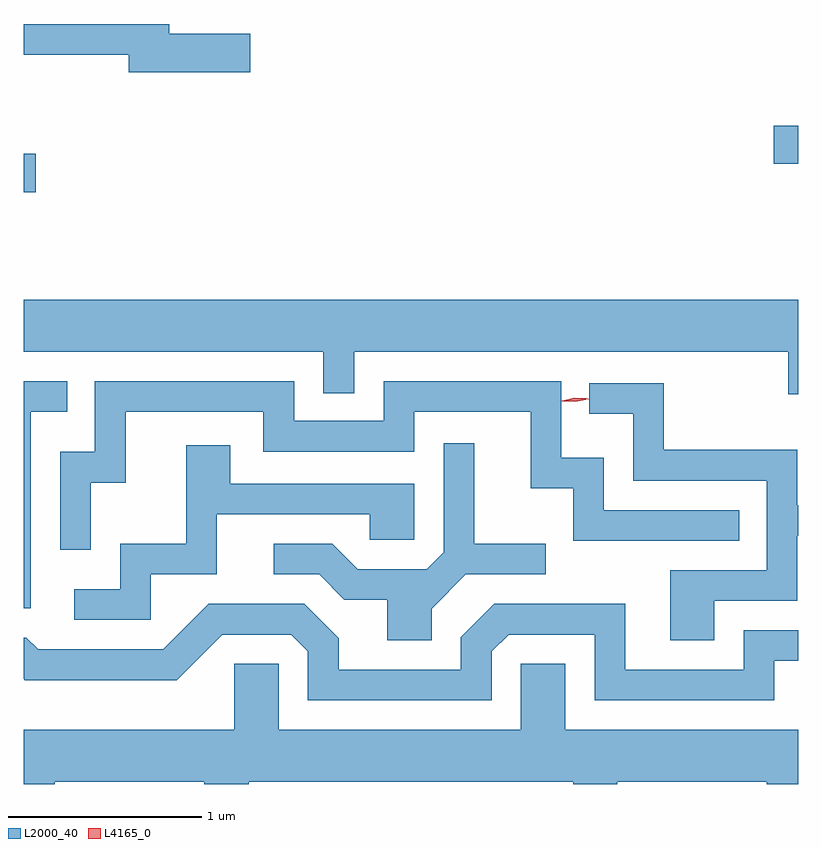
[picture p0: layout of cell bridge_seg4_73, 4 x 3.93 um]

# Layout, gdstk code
import gdstk
lib = gdstk.Library(unit=1e-6, precision=1e-09)
def R(c, l, rs):  # rectangles x0, y0, x1, y1
    for r in rs: c.add(gdstk.rectangle(r[:2], r[2:], *l))
def P(c, l, *ps):  # polygons
    for p in ps: c.add(gdstk.Polygon(p, *l))
L2000_40 = (2000, 40)
L4165_0 = (4165, 0)

bridge_seg4_73 = lib.new_cell('bridge_seg4_73')
R(bridge_seg4_73, L2000_40, [(1504.173,1317.761,1504.234,1317.959), (1508.046,1317.906,1508.173,1318.104)])
P(bridge_seg4_73, L2000_40, [(1505.344,1318.579),(1504.924,1318.579),(1504.924,1318.629),(1504.173,1318.629),(1504.173,1318.471),(1504.716,1318.471),(1504.716,1318.381),(1505.344,1318.381)],
  [(1508.173,1317.204),(1504.173,1317.204),(1504.173,1316.936),(1505.721,1316.936),(1505.721,1316.723),(1505.879,1316.723),(1505.879,1316.936),(1508.121,1316.936),(1508.121,1316.716),(1508.173,1316.716)],
  [(1504.209,1316.626),(1504.398,1316.626),(1504.398,1316.784),(1504.173,1316.784),(1504.173,1315.611),(1504.209,1315.611)],
  [(1504.519,1316.261),(1504.699,1316.261),(1504.699,1316.626),(1505.411,1316.626),(1505.411,1316.421),(1506.189,1316.421),(1506.189,1316.626),(1506.791,1316.626),(1506.791,1316.231),(1507.011,1316.231),(1507.011,1315.961),(1507.868,1315.961),(1507.868,1316.119),(1507.169,1316.119),(1507.169,1316.389),(1506.949,1316.389),(1506.949,1316.784),(1506.031,1316.784),(1506.031,1316.579),(1505.569,1316.579),(1505.569,1316.784),(1504.541,1316.784),(1504.541,1316.419),(1504.361,1316.419),(1504.361,1315.913),(1504.519,1315.913)],
  [(1507.739,1315.651),(1508.169,1315.651),(1508.169,1315.986),(1508.173,1315.986),(1508.173,1316.144),(1508.169,1316.144),(1508.169,1316.429),(1507.479,1316.429),(1507.479,1316.774),(1507.093,1316.774),(1507.093,1316.616),(1507.321,1316.616),(1507.321,1316.271),(1508.011,1316.271),(1508.011,1315.809),(1507.511,1315.809),(1507.511,1315.446),(1507.739,1315.446)],
  [(1506.279,1315.609),(1506.457,1315.786),(1506.868,1315.786),(1506.868,1315.944),(1506.499,1315.944),(1506.499,1316.463),(1506.341,1316.463),(1506.341,1315.902),(1506.254,1315.814),(1505.897,1315.814),(1505.767,1315.944),(1505.463,1315.944),(1505.463,1315.786),(1505.699,1315.786),(1505.829,1315.656),(1506.051,1315.656),(1506.051,1315.446),(1506.279,1315.446)],
  [(1504.829,1315.786),(1505.169,1315.786),(1505.169,1316.096),(1505.961,1316.096),(1505.961,1315.966),(1506.189,1315.966),(1506.189,1316.254),(1505.239,1316.254),(1505.239,1316.454),(1505.011,1316.454),(1505.011,1315.944),(1504.671,1315.944),(1504.671,1315.709),(1504.433,1315.709),(1504.433,1315.551),(1504.829,1315.551)],
  [(1506.589,1315.389),(1506.677,1315.476),(1507.121,1315.476),(1507.121,1315.136),(1508.049,1315.136),(1508.049,1315.341),(1508.173,1315.341),(1508.173,1315.499),(1507.891,1315.499),(1507.891,1315.294),(1507.279,1315.294),(1507.279,1315.634),(1506.604,1315.634),(1506.431,1315.462),(1506.431,1315.294),(1505.799,1315.294),(1505.799,1315.457),(1505.622,1315.634),(1505.129,1315.634),(1504.894,1315.399),(1504.247,1315.399),(1504.187,1315.459),(1504.173,1315.459),(1504.173,1315.247),(1504.179,1315.241),(1504.962,1315.241),(1505.197,1315.476),(1505.554,1315.476),(1505.641,1315.389),(1505.641,1315.136),(1506.589,1315.136)],
  [(1504.334,1314.716),(1505.106,1314.716),(1505.106,1314.704),(1505.334,1314.704),(1505.334,1314.716),(1507.011,1314.716),(1507.011,1314.704),(1507.239,1314.704),(1507.239,1314.716),(1508.011,1314.716),(1508.011,1314.704),(1508.173,1314.704),(1508.173,1314.984),(1506.969,1314.984),(1506.969,1315.324),(1506.741,1315.324),(1506.741,1314.984),(1505.489,1314.984),(1505.489,1315.324),(1505.261,1315.324),(1505.261,1314.984),(1504.173,1314.984),(1504.173,1314.704),(1504.334,1314.704)])
P(bridge_seg4_73, L4165_0, [(1507.021,1316.677),(1506.951,1316.682),(1506.951,1316.683),(1506.951,1316.684),(1507.02,1316.697),(1507.089,1316.691),(1507.09,1316.691),(1507.089,1316.69)],
  [(1507.021,1316.678),(1506.954,1316.681),(1506.954,1316.681),(1506.954,1316.682),(1507.019,1316.698),(1507.086,1316.696),(1507.086,1316.696),(1507.086,1316.695)])

lib.write_gds('bridge_seg4_73.gds')
